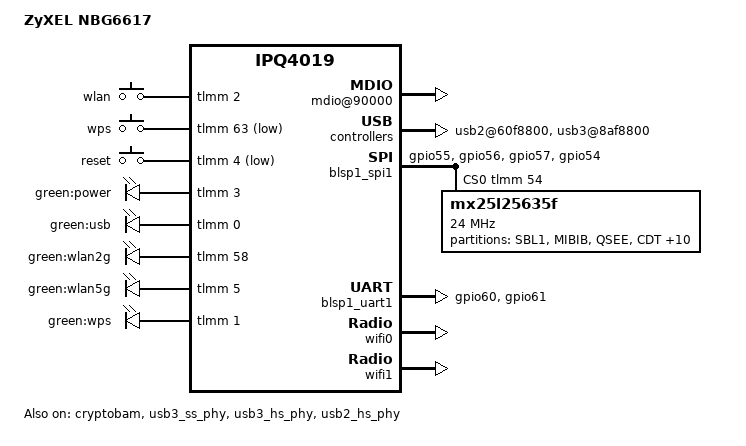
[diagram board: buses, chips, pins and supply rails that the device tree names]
// SPDX-License-Identifier: GPL-2.0-or-later OR MIT

#include "qcom-ipq4019.dtsi"
#include <dt-bindings/gpio/gpio.h>
#include <dt-bindings/input/input.h>
#include <dt-bindings/input/linux-event-codes.h>
#include <dt-bindings/soc/qcom,tcsr.h>

/ {
	model = "ZyXEL NBG6617";
	compatible = "zyxel,nbg6617";

	chosen {
		/*
		 * the vendor u-boot adds root and mtdparts cmdline parameters
		 * which we don't want... but we have to overwrite them or else
		 * the kernel will take them at face value.
		 */
		bootargs-append = " mtdparts= root=31:13";
	};

	aliases {
		led-boot = &power;
		led-failsafe = &power;
		led-running = &power;
		led-upgrade = &power;
	};

	soc {
		rng@22000 {
			status = "okay";
		};

		mdio@90000 {
			status = "okay";
		};

		ess-psgmii@98000 {
			status = "okay";
		};

		tcsr@1949000 {
			compatible = "qcom,tcsr";
			reg = <0x1949000 0x100>;
			qcom,wifi_glb_cfg = <TCSR_WIFI_GLB_CFG>;
		};

		tcsr@194b000 {
			compatible = "qcom,tcsr";
			reg = <0x194b000 0x100>;
			qcom,usb-hsphy-mode-select = <TCSR_USB_HSPHY_HOST_MODE>;
		};

		ess_tcsr@1953000 {
			compatible = "qcom,tcsr";
			reg = <0x1953000 0x1000>;
			qcom,ess-interface-select = <TCSR_ESS_PSGMII>;
		};

		tcsr@1957000 {
			compatible = "qcom,tcsr";
			reg = <0x1957000 0x100>;
			qcom,wifi_noc_memtype_m0_m2 = <TCSR_WIFI_NOC_MEMTYPE_M0_M2>;
		};

		usb2@60f8800 {
			status = "okay";

			dwc3@6000000 {
				#address-cells = <1>;
				#size-cells = <0>;

				usb2_port1: port@1 {
					reg = <1>;
					#trigger-source-cells = <0>;
				};
			};
		};

		usb3@8af8800 {
			status = "okay";

			dwc3@8a00000 {
				#address-cells = <1>;
				#size-cells = <0>;

				usb3_port1: port@1 {
					reg = <1>;
					#trigger-source-cells = <0>;
				};

				usb3_port2: port@2 {
					reg = <2>;
					#trigger-source-cells = <0>;
				};
			};
		};

		crypto@8e3a000 {
			status = "okay";
		};

		watchdog@b017000 {
			status = "okay";
		};

		ess-switch@c000000 {
			status = "okay";
		};

		edma@c080000 {
			status = "okay";
		};
	};

	keys {
		compatible = "gpio-keys";

		wlan {
			label = "wlan";
			gpios = <&tlmm 2 GPIO_ACTIVE_HIGH>;
			linux,code = <KEY_RFKILL>;
			linux,input-type = <EV_SW>;
		};

		wps {
			label = "wps";
			gpios = <&tlmm 63 GPIO_ACTIVE_LOW>;
			linux,code = <KEY_WPS_BUTTON>;
		};

		reset {
			label = "reset";
			gpios = <&tlmm 4 GPIO_ACTIVE_LOW>;
			linux,code = <KEY_RESTART>;
		};
	};

	leds {
		compatible = "gpio-leds";
		pinctrl-0 = <&led_pins>;
		pinctrl-names = "default";

		power: power {
			label = "green:power";
			gpios = <&tlmm 3 GPIO_ACTIVE_HIGH>;
		};

		usb {
			label = "green:usb";
			gpios = <&tlmm 0 GPIO_ACTIVE_HIGH>;
			trigger-sources = <&usb2_port1>, <&usb3_port1>, <&usb3_port2>;
			linux,default-trigger = "usbport";
		};

		wlan2g {
			label = "green:wlan2g";
			gpios = <&tlmm 58 GPIO_ACTIVE_HIGH>;
		};

		wlan5g {
			label = "green:wlan5g";
			gpios = <&tlmm 5 GPIO_ACTIVE_HIGH>;
		};

		wps {
			label = "green:wps";
			gpios = <&tlmm 1 GPIO_ACTIVE_HIGH>;
		};
	};
};

&tlmm {
	serial_pins: serial_pinmux {
		mux {
			pins = "gpio60", "gpio61";
			function = "blsp_uart0";
			bias-disable;
		};
	};

	spi_0_pins: spi_0_pinmux {
		mux {
			function = "blsp_spi0";
			pins = "gpio55", "gpio56", "gpio57";
			drive-strength = <12>;
			bias-disable;
		};

		mux_cs {
			function = "gpio";
			pins = "gpio54";
			drive-strength = <2>;
			bias-disable;
			output-low;
		};
	};

	led_pins: led_pinmux {
		mux {
			pins = "gpio0", "gpio1", "gpio3", "gpio5", "gpio58";
			drive-strength = <0x8>;
			bias-disable;
			output-low;
		};
	};
};

&blsp1_spi1 { /* BLSP1 QUP1 */
	pinctrl-0 = <&spi_0_pins>;
	pinctrl-names = "default";
	status = "okay";
	cs-gpios = <&tlmm 54 GPIO_ACTIVE_HIGH>;

	mx25l25635f@0 {
		compatible = "mx25l25635f", "jedec,spi-nor";
		reg = <0>;
		spi-max-frequency = <24000000>;
		status = "okay";
		m25p,fast-read;

		partitions {
			compatible = "fixed-partitions";
			#address-cells = <1>;
			#size-cells = <1>;

			partition0@0 {
				label = "SBL1";
				reg = <0x00000000 0x00040000>;
				read-only;
			};

			partition1@40000 {
				label = "MIBIB";
				reg = <0x00040000 0x00020000>;
				read-only;
			};

			partition2@60000 {
				label = "QSEE";
				reg = <0x00060000 0x00060000>;
				read-only;
			};

			partition3@c0000 {
				label = "CDT";
				reg = <0x000c0000 0x00010000>;
				read-only;
			};

			partition4@d0000 {
				label = "DDRPARAMS";
				reg = <0x000d0000 0x00010000>;
				read-only;
			};

			partition5@e0000 {
				label = "APPSBL"; /* u-boot */
				reg = <0x000e0000 0x00080000>;
				/* U-Boot Standalone App "zloader" is located at 0x64000 */
				read-only;
			};

			partition6@160000 {
				label = "APPSBLENV"; /* u-boot env */
				reg = <0x00160000 0x00010000>;
			};

			partition7@170000 {
				/* make a backup of this partition! */
				label = "ART";
				reg = <0x00170000 0x00010000>;
				read-only;
			};

			partition8@180000 {
				label = "kernel";
				reg = <0x00180000 0x00400000>;
			};

			partition9@580000 {
				label = "dualflag";
				reg = <0x00580000 0x00010000>;
				read-only;
			};

			partition10@590000 {
				label = "header";
				reg = <0x00590000 0x00010000>;
			};

			partition11@5a0000 {
				label = "romd";
				reg = <0x005a0000 0x00100000>;
				read-only;
			};

			partition12@6a0000 {
				label = "not_root_data";
				/*
				 * for some strange reason, someone at ZyXEL
				 * had the "great" idea to put the rootfs_data
				 * in front of rootfs... Don't do that!
				 * As a result this one, full MebiByte remains
				 * unused.
				 */
				reg = <0x006a0000 0x00100000>;
			};

			partition13@7a0000 {
				label = "rootfs";
				reg = <0x007a0000 0x01860000>;
			};
		};
	};
};

&blsp1_uart1 {
	pinctrl-0 = <&serial_pins>;
	pinctrl-names = "default";
	status = "okay";
};

&cryptobam {
	status = "okay";
};

&blsp_dma {
	status = "okay";
};

&wifi0 {
	status = "okay";
	qcom,ath10k-calibration-variant = "ZyXEL-NBG6617";
};

&wifi1 {
	status = "okay";
	qcom,ath10k-calibration-variant = "ZyXEL-NBG6617";
};

&usb3_ss_phy {
	status = "okay";
};

&usb3_hs_phy {
	status = "okay";
};

&usb2_hs_phy {
	status = "okay";
};
